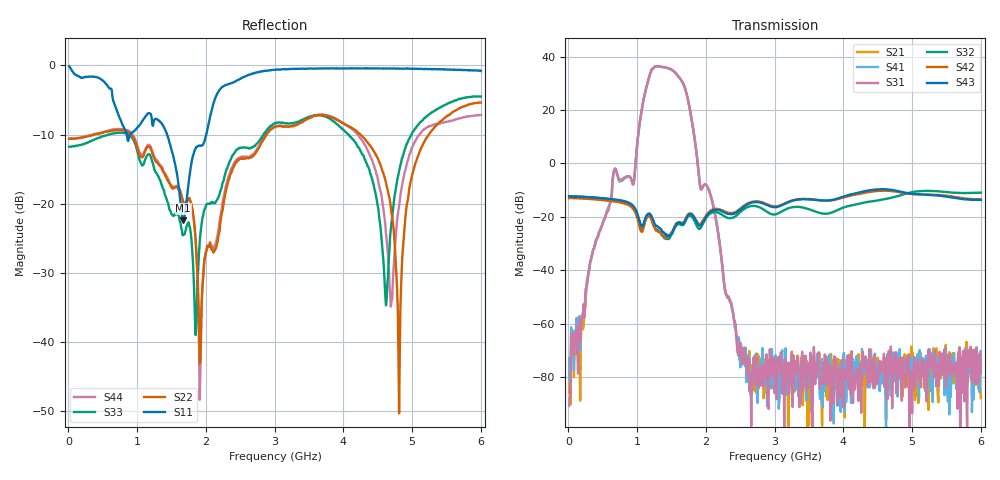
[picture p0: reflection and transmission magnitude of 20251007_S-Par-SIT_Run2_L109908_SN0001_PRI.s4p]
!Keysight Technologies,P5024B,MY61400385,A.19.30.21
!Date: Tuesday, October 07, 2025 13:26:16
!Correction: S11(C  4-Port  )
!S12(C  4-Port  )
!S13(C  4-Port  )
!S14(C  4-Port  )
!S21(C  4-Port  )
!S22(C  4-Port  )
!S23(C  4-Port  )
!S24(C  4-Port  )
!S31(C  4-Port  )
!S32(C  4-Port  )
!S33(C  4-Port  )
!S34(C  4-Port  )
!S41(C  4-Port  )
!S42(C  4-Port  )
!S43(C  4-Port  )
!S44(C  4-Port  )
!S4P File: Measurements: <S11,S12,S13,S14>,
!<S21,S22,S23,S24>,
!<S31,S32,S33,S34>,
!<S41,S42,S43,S44>:
# Hz S  dB  R 50
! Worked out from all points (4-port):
!   600 points, 10 MHz to 6 GHz, reference 50 ohm
!   strongest paths, dB at 10 MHz, 1.51 GHz, 3.01 GHz, 4.51 GHz, 6 GHz:
!     S43: -12.3, -25.9, -16.4, -9.7, -13.7
!     S42: -13.0, -25.6, -16.1, -10.3, -13.4
!     S32: -12.3, -26.4, -19.1, -13.8, -10.9
!     S31: -90.8, 35.0, -83.1, -80.4, -78.6
!     S41: -80.3, 34.9, -71.9, -74.5, -70.3
!     S21: -85.8, 34.9, -79.8, -79.0, -87.9
!   lowest |S11| = -22.4 dB at 1.67 GHz (marker M1), VSWR 1.16, Z = 51.2 + j7.59 ohm
!   |S11| at or under -10 dB: 849.4 MHz to 900.8 MHz (51.31 MHz wide, 5.86 % of centre); 1.435 GHz to 2.005 GHz (570.7 MHz wide, 33.2 % of centre)
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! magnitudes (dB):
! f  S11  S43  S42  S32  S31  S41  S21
! 10 MHz  -0.1  -12.3  -13.0  -12.3  -90.8  -80.3  -85.8
! 1.19 GHz  -7.0  -19.0  -20.1  -19.7  33.7  33.6  33.6
! 1.67 GHz  -22.4  -22.6  -22.2  -23.0  29.9  29.8  29.8
! 2.67 GHz  -1.2  -14.6  -14.4  -15.9  -79.8  -86.0  -75.6
! 4.32 GHz  -0.4  -10.3  -10.9  -14.6  -72.3  -74.4  -79.3
! 4.81 GHz  -0.5  -10.5  -10.8  -12.1  -72.9  -75.0  -78.8
! 6 GHz  -0.8  -13.7  -13.4  -10.9  -78.6  -70.3  -87.9
